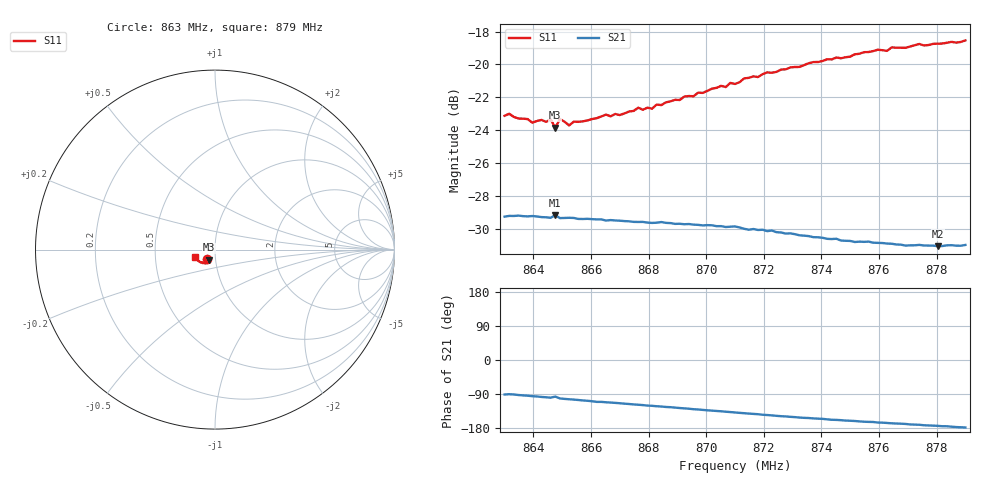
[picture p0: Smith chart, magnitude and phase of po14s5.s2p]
# HZ S RI R 50
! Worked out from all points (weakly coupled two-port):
!   101 points, 863 MHz to 879 MHz, reference 50 ohm
!   highest |S21| = -29.16 dB at 864.76 MHz (marker M1); lowest = -31.0 dB at 878.04 MHz (marker M2)
!   lowest |S11| = -23.8 dB at 864.76 MHz (marker M3), VSWR 1.14, Z = 46.6 - j5.22 ohm
!   |S11| at or under -10 dB: start of sweep to end of sweep
!   S12 and S22 are empty: the file has one direction only
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8.63e8  -0.0446 -0.0537  -0.000612 -0.0345  0 0  0 0
8.6316e8  -0.0464 -0.0535  -0.000166 -0.0346  0 0  0 0
8.6396e8  -0.039 -0.0539  -0.00331 -0.0344  0 0  0 0
8.646e8  -0.0387 -0.0559  -0.00561 -0.0337  0 0  0 0
8.6476e8  -0.032 -0.0557  -0.00398 -0.0346  0 0  0 0
8.6492e8  -0.0378 -0.0569  -0.00675 -0.0334  0 0  0 0
8.6524e8  -0.035 -0.0551  -0.00803 -0.0332  0 0  0 0
8.654e8  -0.0356 -0.0567  -0.00852 -0.0331  0 0  0 0
8.6572e8  -0.0353 -0.0571  -0.00979 -0.0325  0 0  0 0
8.6764e8  -0.0362 -0.0644  -0.0156 -0.0293  0 0  0 0
8.6844e8  -0.0368 -0.0656  -0.0179 -0.0279  0 0  0 0
8.7052e8  -0.0454 -0.0731  -0.0229 -0.0226  0 0  0 0
8.7068e8  -0.0456 -0.0722  -0.0232 -0.0221  0 0  0 0
8.7084e8  -0.0485 -0.0733  -0.0236 -0.0217  0 0  0 0
8.71e8  -0.0469 -0.0735  -0.0241 -0.0213  0 0  0 0
8.7132e8  -0.0504 -0.0754  -0.0244 -0.0202  0 0  0 0
8.7372e8  -0.0686 -0.0751  -0.0269 -0.013  0 0  0 0
8.7596e8  -0.0888 -0.0664  -0.0277 -0.00738  0 0  0 0
8.7628e8  -0.0907 -0.0622  -0.0277 -0.00683  0 0  0 0
8.7644e8  -0.0941 -0.062  -0.0278 -0.0064  0 0  0 0
8.7804e8  -0.1047 -0.049  -0.0279 -0.00303  0 0  0 0
8.79e8  -0.1113 -0.0401  -0.0282 -0.000946  0 0  0 0
